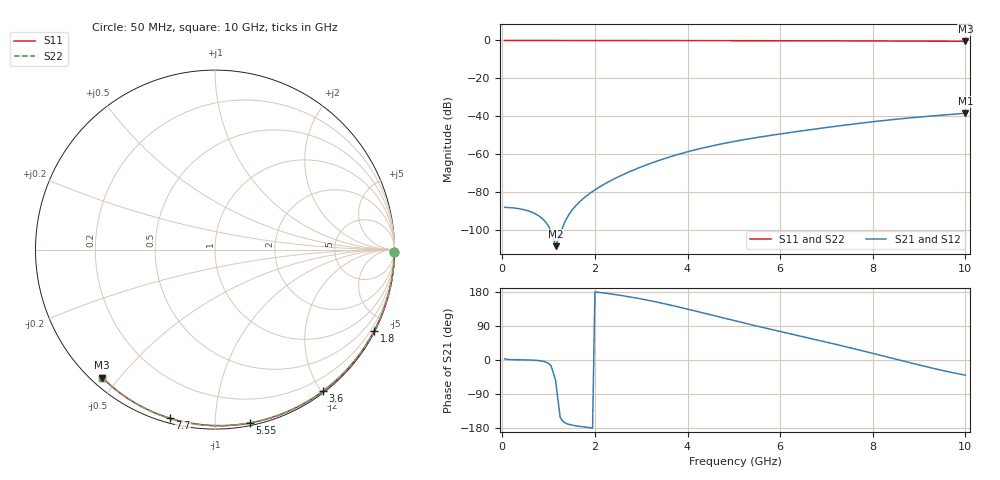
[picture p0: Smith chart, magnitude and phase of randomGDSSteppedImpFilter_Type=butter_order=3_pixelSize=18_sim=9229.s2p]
! freq	dB(S11)	phase(S11)	dB(S12)	phase(S12)
!  dB(S21)	phase(S21)	dB(S22)	phase(S22)
!S-par simulation data
#  GHz  S  DB  R 50
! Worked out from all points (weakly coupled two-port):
!   200 points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, 50 MHz to 10 GHz, reference 50 ohm
!   highest |S21| = -38.41 dB at 10 GHz (marker M1); lowest = -108.5 dB at 1.15 GHz (marker M2)
!   lowest |S11| = -0.4 dB at 10 GHz (marker M3), VSWR 39.12, Z = 1.54 - j22.6 ohm
!   |S11| at or under -10 dB: nowhere
!   |S22| runs from -0.4 to 0.0 dB; largest |S21 - S12| = 0
!   S11 on the Smith chart (normalised r, x): 50 MHz: open; 1.8 GHz: 0.04, -4.18; 3.6 GHz: 0.02, -2.02; 5.55 GHz: 0.02, -1.22; 7.7 GHz: 0.02, -0.77; 10 GHz: 0.03, -0.45
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0.05  -0.00 -0.8  -88.07 3.1  -88.07 3.1  -0.00 -0.8
0.6  -0.01 -9.1  -90.27 0.0  -90.27 0.0  -0.01 -9.1
1.15  -0.02 -17.3  -108.54 -53.7  -108.54 -53.7  -0.02 -17.3
1.75  -0.03 -26.2  -83.38 -176.4  -83.38 -176.4  -0.03 -26.2
1.8  -0.03 -26.9  -82.37 -177.2  -82.37 -177.2  -0.03 -26.9
1.9  -0.04 -28.4  -80.53 -178.7  -80.53 -178.7  -0.04 -28.4
1.95  -0.04 -29.1  -79.67 -179.4  -79.67 -179.4  -0.04 -29.1
2.25  -0.04 -33.5  -75.17 175.9  -75.17 175.9  -0.04 -33.5
2.55  -0.05 -37.8  -71.43 170.6  -71.43 170.6  -0.05 -37.8
2.95  -0.06 -43.5  -67.19 162.3  -67.19 162.3  -0.06 -43.5
3.4  -0.07 -49.9  -63.16 151.2  -63.16 151.2  -0.07 -49.9
3.6  -0.07 -52.7  -61.57 145.8  -61.57 145.8  -0.07 -52.6
3.95  -0.08 -57.5  -59.08 135.8  -59.08 135.8  -0.08 -57.5
4.3  -0.09 -62.2  -56.90 125.3  -56.90 125.3  -0.09 -62.2
5.05  -0.11 -72.2  -53.09 102.6  -53.09 102.6  -0.11 -72.2
5.55  -0.13 -78.6  -51.01 88.0  -51.01 88.0  -0.13 -78.6
6.1  -0.15 -85.6  -48.97 72.4  -48.97 72.4  -0.15 -85.6
6.7  -0.18 -93.0  -46.92 55.6  -46.92 55.6  -0.18 -93.0
7.7  -0.24 -105.0  -43.75 26.6  -43.75 26.6  -0.24 -105.0
8.35  -0.29 -112.6  -41.95 6.7  -41.95 6.7  -0.29 -112.6
9.15  -0.36 -121.8  -40.11 -17.6  -40.11 -17.6  -0.36 -121.8
10  -0.44 -131.4  -38.41 -40.2  -38.41 -40.2  -0.44 -131.4
